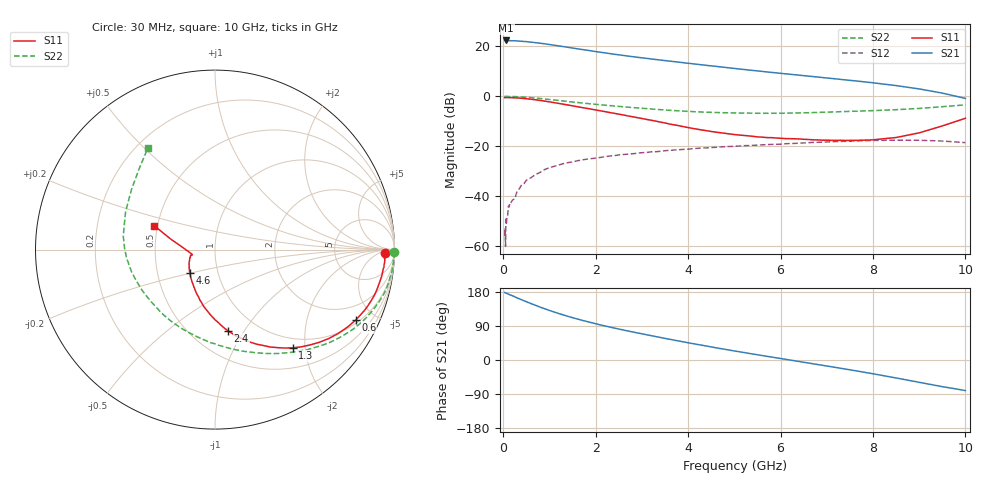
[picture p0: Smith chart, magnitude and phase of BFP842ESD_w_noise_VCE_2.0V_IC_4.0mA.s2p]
! Infineon Technologies  Discrete & RF Semiconductors
! BFP842ESD
! VCE =  2.0 V,  IC =  4.0 mA
! Common Emitter S-Parameters:  May 2012
# GHz  S  MA  R  50
!  f  S11  S21  S12  S22
! GHz  MAG  ANG  MAG  ANG  MAG  ANG  MAG  ANG
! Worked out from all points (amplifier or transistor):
!   99 points, 30 MHz to 10 GHz, reference 50 ohm
!   highest |S21| = 22.4 dB at 60 MHz (marker M1)
!   |S21| within 3 dB of that: start of sweep to 1.487 GHz
!   unconditionally stable (mu >= 1): 3.741 GHz to end of sweep
!   at 350 MHz: K = 0.11, MSG = 29.6 dB, |S12| = -37.0 dB
!   at 3.5 GHz: K = 0.96, MSG = 18.1 dB, |S12| = -21.8 dB
!   at 10 GHz: K = 2.13, MAG = 2.8 dB, |S12| = -18.5 dB
!   lowest NFmin = 0.36 dB at 450 MHz
!   S11 on the Smith chart (normalised r, x): 30 MHz: 32, -14; 600 MHz: 1.15, -3.93; 1.3 GHz: 0.83, -1.76; 2.4 GHz: 0.74, -0.85; 4.6 GHz: 0.73, -0.20; 10 GHz: 0.48, +0.15
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0.03  0.9483 -1.3  13.09 178.2  0.0016 144.9  0.996 -0.9
0.04  0.952 -1.8  13.05 177.5  0.0023 89.2  0.9986 -1.1
0.05  0.9427 -2.1  12.98 176.7  0.001 -24.2  0.9994 -1.7
0.06  0.9455 -3.0  13.18 176.3  0.0035 -6.9  0.9983 -2.0
0.09  0.9474 -4.0  12.93 175.2  0.0038 110.4  0.9987 -3.0
0.11  0.9457 -5.2  13.16 173.8  0.0063 88.9  0.9956 -3.8
0.25  0.9351 -11.2  13.01 166.7  0.0089 82.8  0.9879 -9.0
0.6  0.8774 -26.5  12.19 148.9  0.0235 70.8  0.9426 -20.9
0.9  0.804 -38.1  11.28 135.1  0.0344 61.8  0.8871 -30.1
1.1  0.75 -45.1  10.61 126.7  0.0397 58.3  0.8469 -35.6
1.3  0.6974 -51.7  9.937 119.0  0.0449 54.2  0.8086 -40.7
1.7  0.5978 -63.3  8.709 105.0  0.0532 47.2  0.7375 -49.8
2.1  0.514 -73.7  7.667 92.7  0.0598 41.1  0.6793 -58.4
2.4  0.4585 -80.9  6.984 84.4  0.0649 38.0  0.6417 -64.4
2.9  0.3752 -92.3  6.078 71.5  0.0727 32.2  0.5883 -74.4
3.4  0.3054 -104.1  5.344 59.5  0.0796 26.9  0.5419 -85.2
4  0.2374 -119.9  4.605 45.5  0.0875 20.6  0.5006 -99.3
4.6  0.1923 -136.7  3.994 32.3  0.0955 14.4  0.4756 -113.8
5.1  0.1683 -149.0  3.545 21.9  0.1014 8.7  0.4638 -125.3
6.7  0.135 -167.0  2.495 -9.9  0.1195 -8.9  0.474 -160.5
8.5  0.1499 -176.3  1.645 -47.4  0.133 -35.6  0.5412 157.0
10  0.3646 158.5  0.911 -80.6  0.1186 -64.6  0.677 123.6
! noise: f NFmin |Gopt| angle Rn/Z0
0.45  0.36  0.47  2  0.13
0.9  0.39  0.49  8  0.13
1.5  0.43  0.47  21  0.12
1.9  0.44  0.44  30  0.12
2.4  0.48  0.41  44  0.11
3.5  0.62  0.3  80  0.09
4  0.68  0.25  99  0.09
5  0.74  0.23  117  0.08
5.5  0.89  0.22  140  0.08
6  1.04  0.21  152  0.08
